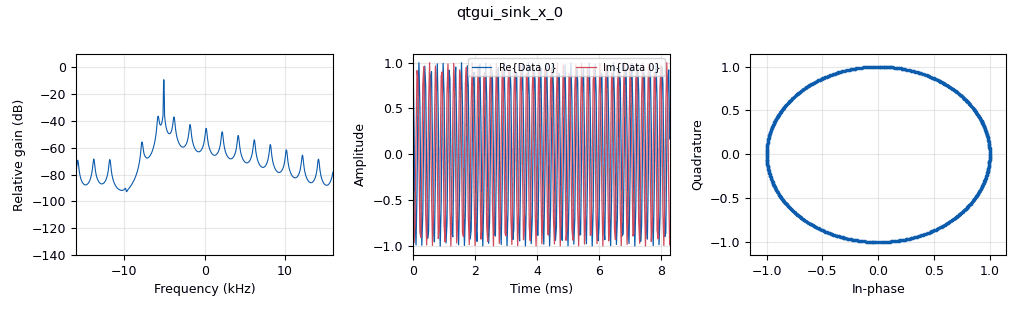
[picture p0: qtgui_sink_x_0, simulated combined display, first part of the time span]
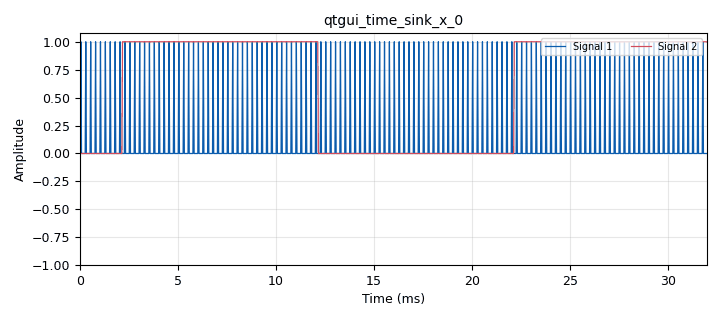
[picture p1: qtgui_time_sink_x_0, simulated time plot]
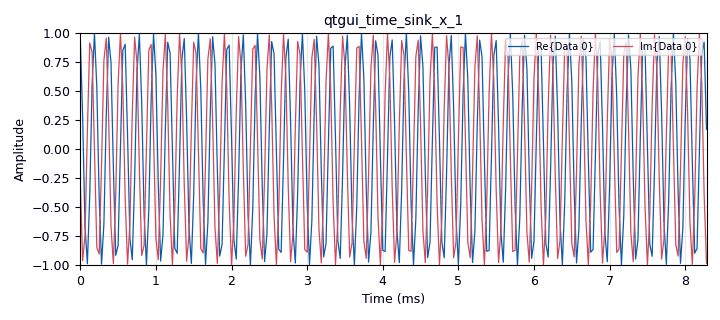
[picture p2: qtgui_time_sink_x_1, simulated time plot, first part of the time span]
options:
  parameters:
    author: dafernan
    generate_options: qt_gui
    id: CPFSK
    output_language: python
    title: Not titled yet
  states: {}

blocks:
- name: fm
  id: variable_qtgui_range
  parameters:
    label: signal frequency (Hz)
    orient: Qt.Horizontal
    start: '0'
    step: '1'
    stop: '10000'
    value: '50'
  states: {}
- name: samp_rate
  id: variable
  parameters:
    value: '32000'
  states: {}
- name: analog_sig_source_x_0
  id: analog_sig_source_x
  parameters:
    amp: '1'
    freq: fm
    offset: '0'
    phase: '0'
    samp_rate: samp_rate
    type: float
    waveform: analog.GR_SQR_WAVE
  states: {}
- name: blocks_char_to_float_0
  id: blocks_char_to_float
  parameters:
    scale: '1'
  states: {}
- name: blocks_float_to_char_0
  id: blocks_float_to_char
  parameters:
    scale: '1'
  states: {}
- name: blocks_throttle_0
  id: blocks_throttle
  parameters:
    samples_per_second: samp_rate
    type: float
  states: {}
- name: digital_gfsk_demod_0
  id: digital_gfsk_demod
  parameters:
    freq_error: '0.0'
    gain_mu: '0.175'
    mu: '0.5'
    omega_relative_limit: '0.005'
    samples_per_symbol: '2'
    sensitivity: '1.0'
  states: {}
- name: digital_gfsk_mod_0
  id: digital_gfsk_mod
  parameters:
    bt: '0.35'
    samples_per_symbol: '2'
    sensitivity: '1.0'
  states: {}
- name: qtgui_sink_x_0
  id: qtgui_sink_x
  parameters:
    bw: samp_rate
    fc: '0'
    fftsize: '1024'
    type: complex
    wintype: firdes.WIN_BLACKMAN_hARRIS
  states: {}
- name: qtgui_time_sink_x_0
  id: qtgui_time_sink_x
  parameters:
    nconnections: '2'
    size: '1024'
    srate: samp_rate
    type: float
  states: {}
- name: qtgui_time_sink_x_1
  id: qtgui_time_sink_x
  parameters:
    size: '1024'
    srate: samp_rate
    type: complex
  states: {}

connections:
- [analog_sig_source_x_0, '0', blocks_throttle_0, '0']
- [blocks_char_to_float_0, '0', qtgui_time_sink_x_0, '0']
- [blocks_float_to_char_0, '0', digital_gfsk_mod_0, '0']
- [blocks_throttle_0, '0', blocks_float_to_char_0, '0']
- [blocks_throttle_0, '0', qtgui_time_sink_x_0, '1']
- [digital_gfsk_demod_0, '0', blocks_char_to_float_0, '0']
- [digital_gfsk_mod_0, '0', digital_gfsk_demod_0, '0']
- [digital_gfsk_mod_0, '0', qtgui_sink_x_0, '0']
- [digital_gfsk_mod_0, '0', qtgui_time_sink_x_1, '0']

metadata:
  file_format: 1
